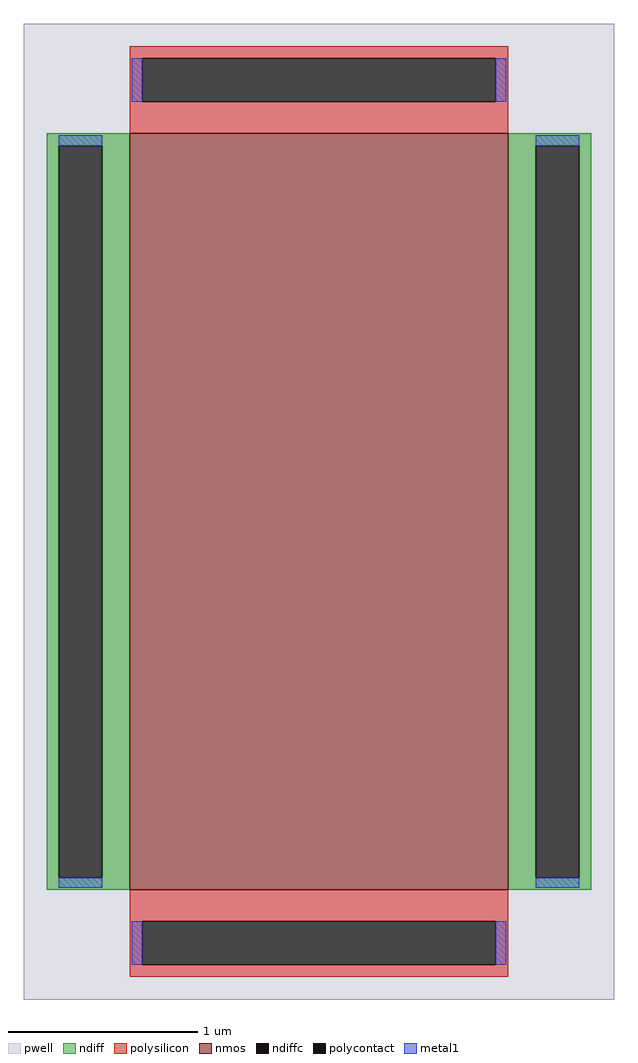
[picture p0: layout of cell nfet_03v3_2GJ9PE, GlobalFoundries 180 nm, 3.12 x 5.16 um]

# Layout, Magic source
magic
tech gf180mcuD
magscale 1 10
<< pwell >>
rect -312 -516 312 516
<< nmos >>
rect -200 -400 200 400
<< ndiff >>
rect -288 387 -200 400
rect -288 -387 -275 387
rect -229 -387 -200 387
rect -288 -400 -200 -387
rect 200 387 288 400
rect 200 -387 229 387
rect 275 -387 288 387
rect 200 -400 288 -387
<< ndiffc >>
rect -275 -387 -229 387
rect 229 -387 275 387
<< polysilicon >>
rect -200 479 200 492
rect -200 433 -187 479
rect 187 433 200 479
rect -200 400 200 433
rect -200 -433 200 -400
rect -200 -479 -187 -433
rect 187 -479 200 -433
rect -200 -492 200 -479
<< polycontact >>
rect -187 433 187 479
rect -187 -479 187 -433
<< metal1 >>
rect -198 433 -187 479
rect 187 433 198 479
rect -275 387 -229 398
rect -275 -398 -229 -387
rect 229 387 275 398
rect 229 -398 275 -387
rect -198 -479 -187 -433
rect 187 -479 198 -433
<< properties >>
string gencell nfet_03v3
string library gf180mcu
string parameters w 4 l 2 m 1 nf 1 diffcov 100 polycov 100 guard 0 glc 0 grc 0 gtc 0 gbc 0 tbcov 100 rlcov 100 topc 1 botc 1 poverlap 0 doverlap 1 lmin 0.28 wmin 0.22 class mosfet full_metal 0 compatible {nfet_03v3 nfet_05v0 nfet_06v0 nfet_06v0_nvt}
<< end >>
